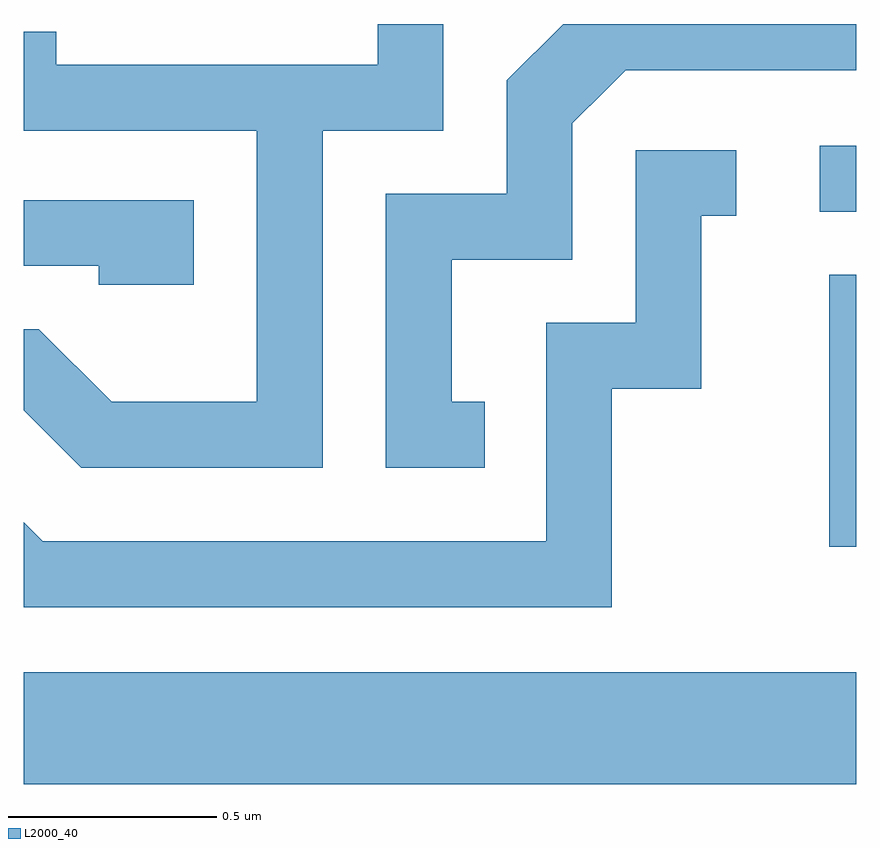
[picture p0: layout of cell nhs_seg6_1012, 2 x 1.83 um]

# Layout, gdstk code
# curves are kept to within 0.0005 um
import gdstk
lib = gdstk.Library(unit=1e-6, precision=1e-09)
def R(c, l, rs):  # rectangles x0, y0, x1, y1
    for r in rs: c.add(gdstk.rectangle(r[:2], r[2:], *l))
def P(c, l, *ps):  # polygons
    for p in ps: c.add(gdstk.Polygon(p, *l))
L2000_40 = (2000, 40)

nhs_seg6_1012 = lib.new_cell('nhs_seg6_1012')
R(nhs_seg6_1012, L2000_40, [(192.611,1583.336,194.611,1583.604), (194.546,1583.906,194.611,1584.559), (194.523,1584.711,194.611,1584.869)])
P(nhs_seg6_1012, L2000_40, [(193.718,1584.254),(193.639,1584.254),(193.639,1584.596),(193.929,1584.596),(193.929,1584.924),(194.057,1585.051),(194.611,1585.051),(194.611,1585.162),(193.907,1585.162),(193.771,1585.027),(193.771,1584.754),(193.481,1584.754),(193.481,1584.096),(193.718,1584.096)],
  [(193.329,1584.906),(193.619,1584.906),(193.619,1585.162),(193.461,1585.162),(193.461,1585.064),(192.689,1585.064),(192.689,1585.143),(192.611,1585.143),(192.611,1584.906),(193.171,1584.906),(193.171,1584.254),(192.822,1584.254),(192.647,1584.429),(192.611,1584.429),(192.611,1584.234),(192.749,1584.096),(193.329,1584.096)],
  [(194.024,1584.286),(194.239,1584.286),(194.239,1584.701),(194.323,1584.701),(194.323,1584.859),(194.081,1584.859),(194.081,1584.444),(193.866,1584.444),(193.866,1583.919),(192.657,1583.919),(192.611,1583.965),(192.611,1583.761),(194.024,1583.761)],
  [(193.019,1584.739),(192.611,1584.739),(192.611,1584.581),(192.791,1584.581),(192.791,1584.536),(193.019,1584.536)])

lib.write_gds('nhs_seg6_1012.gds')
